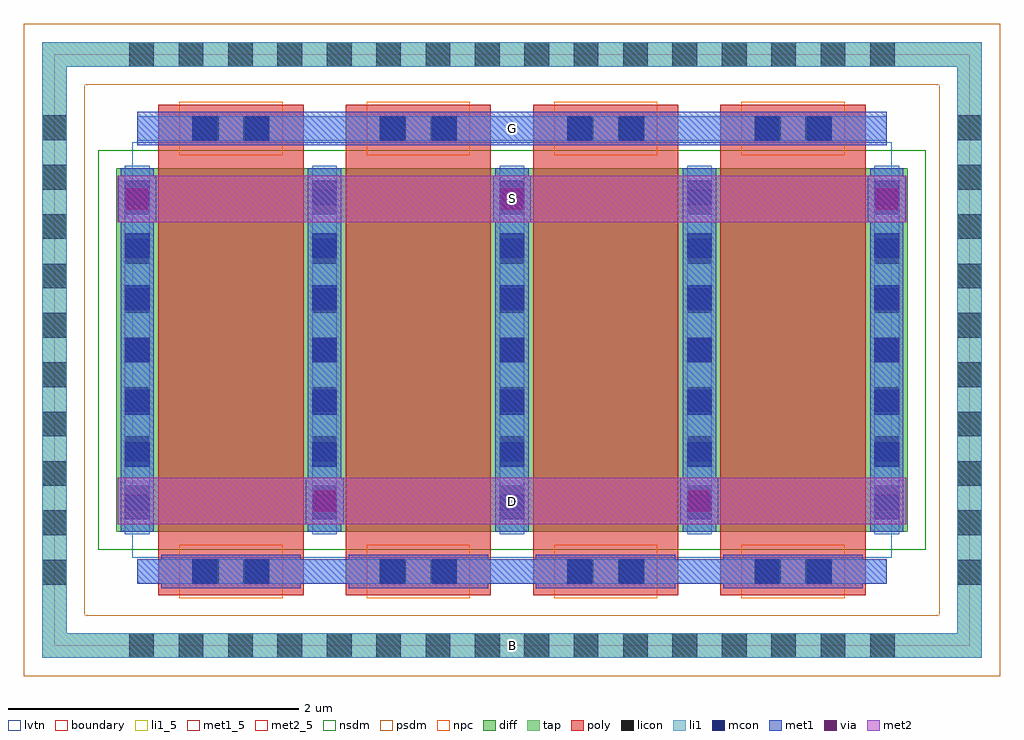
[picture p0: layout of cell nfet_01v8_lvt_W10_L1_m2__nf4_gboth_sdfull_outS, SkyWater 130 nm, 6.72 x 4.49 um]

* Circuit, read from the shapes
.subckt nfet_01v8_lvt_W10_L1_m2__nf4_gboth_sdfull_outS B D G S
XM1 D G S B sky130_fd_pr__nfet_01v8_lvt w=2.5 l=1 m=4
.ends

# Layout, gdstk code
import gdstk
lib = gdstk.Library(unit=1e-6, precision=1e-09)
def R(c, l, rs):  # rectangles x0, y0, x1, y1
    for r in rs: c.add(gdstk.rectangle(r[:2], r[2:], *l))
def A(c, l, x, y, w, h, nx, ny, dx, dy):  # array of equal rectangles
    R(c, l, [(x+i*dx, y+j*dy, x+i*dx+w, y+j*dy+h) for i in range(nx) for j in range(ny)])
diff = (65, 20)
tap = (65, 44)
poly = (66, 20)
licon = (66, 44)
li1_5 = (67, 5)
li1 = (67, 20)
mcon = (67, 44)
met1_5 = (68, 5)
met1 = (68, 20)
via = (68, 44)
met2_5 = (69, 5)
met2 = (69, 20)
nsdm = (93, 44)
psdm = (94, 20)
npc = (95, 20)
lvtn = (125, 44)
boundary = (235, 4)

sky130_fd_pr__nfet_01v8_ = lib.new_cell('sky130_fd_pr__nfet_01v8_lvt_K59M6D')
R(sky130_fd_pr__nfet_01v8_, diff, [(-2.725,-1.25,2.725,1.25)])
R(sky130_fd_pr__nfet_01v8_, tap, [(-3.235,-2.12,3.235,-1.95), (-3.235,-1.95,-3.065,1.95), (3.065,-1.95,3.235,1.95), (-3.235,1.95,3.235,2.12)])
A(sky130_fd_pr__nfet_01v8_, poly, -2.435, -1.69, 1, 3.38, 4, 1, 1.29, 0)
A(sky130_fd_pr__nfet_01v8_, licon, -2.635, -2.12, 0.17, 0.17, 16, 2, 0.34, 4.07)
A(sky130_fd_pr__nfet_01v8_, licon, -3.235, -1.615, 0.17, 0.17, 1, 10, 0, 0.34)
A(sky130_fd_pr__nfet_01v8_, licon, 3.065, -1.615, 0.17, 0.17, 1, 10, 0, 0.34)
A(sky130_fd_pr__nfet_01v8_, licon, -2.665, -1.105, 0.17, 0.17, 5, 7, 1.29, 0.34)
R(sky130_fd_pr__nfet_01v8_, licon, [(-2.19,-1.61,-2.02,-1.44), (-1.85,-1.61,-1.68,-1.44), (-0.9,-1.61,-0.73,-1.44), (-0.56,-1.61,-0.39,-1.44), (0.39,-1.61,0.56,-1.44), (0.73,-1.61,0.9,-1.44), (1.68,-1.61,1.85,-1.44), (2.02,-1.61,2.19,-1.44), (-2.19,1.44,-2.02,1.61), (-1.85,1.44,-1.68,1.61), (-0.9,1.44,-0.73,1.61), (-0.56,1.44,-0.39,1.61), (0.39,1.44,0.56,1.61), (0.73,1.44,0.9,1.61), (1.68,1.44,1.85,1.61), (2.02,1.44,2.19,1.61)])
A(sky130_fd_pr__nfet_01v8_, li1, -2.665, -1.27, 0.17, 2.54, 5, 1, 1.29, 0)
R(sky130_fd_pr__nfet_01v8_, li1, [(-3.235,-2.12,3.235,-1.95), (-3.235,-1.95,-3.065,1.95), (3.065,-1.95,3.235,1.95), (-2.58,-1.61,2.58,-1.44), (-2.58,1.44,2.58,1.61), (-3.235,1.95,3.235,2.12)])
A(sky130_fd_pr__nfet_01v8_, mcon, -2.665, -1.165, 0.17, 0.17, 5, 7, 1.29, 0.36)
R(sky130_fd_pr__nfet_01v8_, mcon, [(-2.2,-1.61,-2.03,-1.44), (-1.84,-1.61,-1.67,-1.44), (-0.91,-1.61,-0.74,-1.44), (-0.55,-1.61,-0.38,-1.44), (0.38,-1.61,0.55,-1.44), (0.74,-1.61,0.91,-1.44), (1.67,-1.61,1.84,-1.44), (2.03,-1.61,2.2,-1.44), (-2.2,1.44,-2.03,1.61), (-1.84,1.44,-1.67,1.61), (-0.91,1.44,-0.74,1.61), (-0.55,1.44,-0.38,1.61), (0.38,1.44,0.55,1.61), (0.74,1.44,0.91,1.61), (1.67,1.44,1.84,1.61), (2.03,1.44,2.2,1.61)])
A(sky130_fd_pr__nfet_01v8_, met1, -2.415, -1.64, 0.96, 0.03, 4, 2, 1.29, 0.2)
A(sky130_fd_pr__nfet_01v8_, met1, -2.695, -1.25, 0.23, 2.5, 5, 1, 1.29, 0)
A(sky130_fd_pr__nfet_01v8_, met1, -2.415, 1.41, 0.96, 0.03, 4, 2, 1.29, 0.2)
R(sky130_fd_pr__nfet_01v8_, met1, [(-2.58,-1.61,2.58,-1.44), (-2.58,1.44,2.58,1.61)])
R(sky130_fd_pr__nfet_01v8_, nsdm, [(-2.85,-1.375,2.85,1.375)])
R(sky130_fd_pr__nfet_01v8_, psdm, [(-3.36,-2.245,3.36,-1.825), (-3.36,-1.825,-2.94,1.825), (2.94,-1.825,3.36,1.825), (-3.36,1.825,3.36,2.245)])
A(sky130_fd_pr__nfet_01v8_, npc, -2.29, -1.71, 0.71, 0.37, 4, 2, 1.29, 3.05)
R(sky130_fd_pr__nfet_01v8_, lvtn, [(-2.615,-1.43,2.615,1.43)])
R(sky130_fd_pr__nfet_01v8_, boundary, [(-3.15,-2.035,3.15,2.035)])
sky130_fd_pr__nfet_01v8_.add(gdstk.Label('B', (0,-2.035), layer=67, texttype=5))
sky130_fd_pr__nfet_01v8_.add(gdstk.Label('D0', (-2.58,0), layer=67, texttype=5))
sky130_fd_pr__nfet_01v8_.add(gdstk.Label('G', (1.935,1.525), layer=67, texttype=5))
sky130_fd_pr__nfet_01v8_.add(gdstk.Label('G', (0.645,1.525), layer=67, texttype=5))
sky130_fd_pr__nfet_01v8_.add(gdstk.Label('G', (-0.645,1.525), layer=67, texttype=5))
sky130_fd_pr__nfet_01v8_.add(gdstk.Label('G', (-1.935,1.525), layer=67, texttype=5))
sky130_fd_pr__nfet_01v8_.add(gdstk.Label('S1', (-1.29,0), layer=67, texttype=5))
sky130_fd_pr__nfet_01v8_.add(gdstk.Label('D2', (0,0), layer=67, texttype=5))
sky130_fd_pr__nfet_01v8_.add(gdstk.Label('S3', (1.29,0), layer=67, texttype=5))

nfet_01v8_lvt_w10_l1_m2_ = lib.new_cell('nfet_01v8_lvt_W10_L1_m2__nf4_gboth_sdfull_outS')
R(nfet_01v8_lvt_w10_l1_m2_, li1_5, [(3.065,-0.085,3.235,0.085)])
R(nfet_01v8_lvt_w10_l1_m2_, li1, [(3.065,-0.085,3.235,0.085)])
R(nfet_01v8_lvt_w10_l1_m2_, met1_5, [(0.57,3.445,5.73,3.675)])
A(nfet_01v8_lvt_w10_l1_m2_, met1, 0.44, 2.915, 0.26, 0.32, 3, 1, 2.58, 0)
R(nfet_01v8_lvt_w10_l1_m2_, met1, [(1.73,0.835,1.99,1.155), (4.31,0.835,4.57,1.155), (0.57,3.445,5.73,3.675)])
A(nfet_01v8_lvt_w10_l1_m2_, via, 0.495, 3, 0.15, 0.15, 3, 1, 2.58, 0)
R(nfet_01v8_lvt_w10_l1_m2_, via, [(1.785,0.92,1.935,1.07), (4.365,0.92,4.515,1.07)])
R(nfet_01v8_lvt_w10_l1_m2_, met2_5, [(0.435,0.835,5.865,1.155), (0.435,2.915,5.865,3.235)])
R(nfet_01v8_lvt_w10_l1_m2_, met2, [(0.435,0.835,5.865,1.155), (0.435,2.915,5.865,3.235)])
nfet_01v8_lvt_w10_l1_m2_.add(gdstk.Reference(sky130_fd_pr__nfet_01v8_, (3.15,2.035)))
nfet_01v8_lvt_w10_l1_m2_.add(gdstk.Label('S', (3.15,3.075), layer=69, texttype=5))
nfet_01v8_lvt_w10_l1_m2_.add(gdstk.Label('D', (3.15,0.995), layer=69, texttype=5))
nfet_01v8_lvt_w10_l1_m2_.add(gdstk.Label('G', (3.15,3.56), layer=68, texttype=5))
nfet_01v8_lvt_w10_l1_m2_.add(gdstk.Label('B', (3.15,0), layer=67, texttype=5))

lib.write_gds('nfet_01v8_lvt_W10_L1_m2__nf4_gboth_sdfull_outS.gds')
